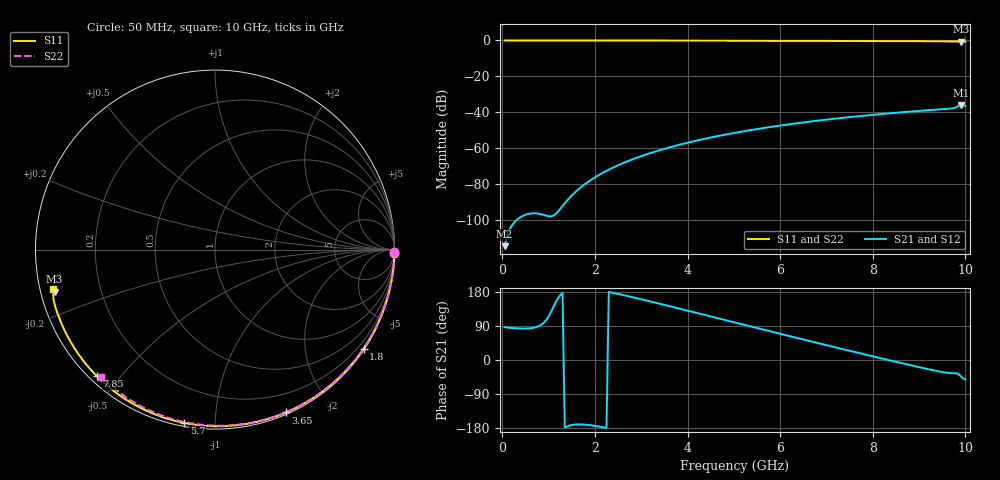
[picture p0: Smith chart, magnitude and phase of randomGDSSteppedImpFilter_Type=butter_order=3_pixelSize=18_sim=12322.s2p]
! freq	dB(S11)	phase(S11)	dB(S12)	phase(S12)
!  dB(S21)	phase(S21)	dB(S22)	phase(S22)
!S-par simulation data
#  GHz  S  DB  R 50
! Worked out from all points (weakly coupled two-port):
!   200 points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, 50 MHz to 10 GHz, reference 50 ohm
!   highest |S21| = -35.91 dB at 9.9 GHz (marker M1); lowest = -114.5 dB at 50 MHz (marker M2)
!   lowest |S11| = -0.7 dB at 9.9 GHz (marker M3), VSWR 25.29, Z = 2.01 - j6.46 ohm
!   |S11| at or under -10 dB: nowhere
!   |S22| runs from -0.4 to 0.0 dB; largest |S21 - S12| = 0
!   S11 on the Smith chart (normalised r, x): 50 MHz: open; 1.8 GHz: 0.03, -3.31; 3.65 GHz: 0.02, -1.53; 5.7 GHz: 0.02, -0.84; 7.85 GHz: 0.02, -0.43; 10 GHz: 0.04, -0.12
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0.05  -0.00 -1.0  -114.52 87.0  -114.52 87.0  -0.00 -0.8
0.85  -0.02 -16.1  -96.81 93.7  -96.81 93.7  -0.02 -12.9
1.3  -0.03 -24.5  -92.23 177.0  -92.23 177.0  -0.02 -19.6
1.75  -0.04 -32.7  -80.66 -170.3  -80.66 -170.3  -0.03 -26.3
1.8  -0.04 -33.7  -79.70 -170.7  -79.70 -170.7  -0.03 -27.0
2.1  -0.05 -39.1  -74.70 -175.8  -74.70 -175.8  -0.04 -31.4
2.5  -0.06 -46.3  -69.49 174.4  -69.49 174.4  -0.05 -37.2
2.9  -0.07 -53.4  -65.33 163.2  -65.33 163.2  -0.06 -43.0
3.4  -0.08 -62.1  -61.07 148.5  -61.07 148.5  -0.07 -50.0
3.65  -0.09 -66.4  -59.24 140.9  -59.24 140.9  -0.07 -53.5
4.35  -0.11 -78.2  -54.85 119.5  -54.85 119.5  -0.09 -63.1
5.05  -0.14 -89.6  -51.29 98.1  -51.29 98.1  -0.11 -72.4
5.7  -0.17 -100.0  -48.51 78.3  -48.51 78.3  -0.13 -80.8
6.7  -0.23 -115.5  -44.99 48.1  -44.99 48.1  -0.18 -93.3
7.25  -0.26 -124.0  -43.36 31.7  -43.36 31.7  -0.21 -100.0
7.85  -0.31 -133.1  -41.77 14.1  -41.77 14.1  -0.25 -107.1
8.35  -0.36 -140.8  -40.58 -0.4  -40.58 -0.4  -0.29 -113.0
9  -0.43 -150.9  -39.21 -18.8  -39.21 -18.8  -0.34 -120.5
9.65  -0.50 -161.4  -37.99 -34.5  -37.99 -34.5  -0.41 -127.9
9.75  -0.53 -163.2  -37.62 -35.0  -37.62 -35.0  -0.42 -129.0
9.9  -0.69 -165.3  -35.91 -42.9  -35.91 -42.9  -0.43 -130.7
10  -0.63 -166.4  -36.38 -51.2  -36.38 -51.2  -0.44 -131.8
